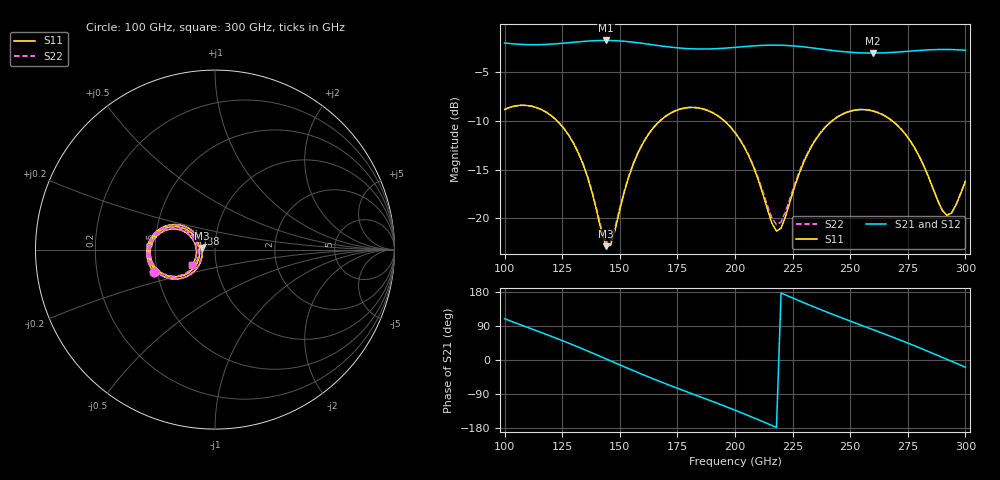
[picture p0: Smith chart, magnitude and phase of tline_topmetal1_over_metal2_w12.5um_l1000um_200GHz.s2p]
#  GHZ S DB R 50
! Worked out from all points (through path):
!   101 points, 100 GHz to 300 GHz, reference 50 ohm
!   highest |S21| = -1.71 dB at 144 GHz (marker M1); lowest = -3.0 dB at 260 GHz (marker M2)
!   group delay of S21, straight-line fit = 6.78 ps
!   lowest |S11| = -22.9 dB at 144 GHz (marker M3), VSWR 1.15, Z = 43.3 + j0.767 ohm
!   |S11| at or under -10 dB: 122.8 GHz to 167.4 GHz (44.63 GHz wide, 30.8 % of centre); 195.4 GHz to 242.1 GHz (46.75 GHz wide, 21.4 % of centre); 268.3 GHz to end of sweep
!   |S22| runs from -22.5 to -8.4 dB; largest |S21 - S12| = 9e-14
!   S11 on the Smith chart (normalised r, x): 100 GHz: 0.48, -0.14; 138 GHz: 0.80, +0.14; 300 GHz: 0.76, -0.14
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100  -8.82 -159.8  -1.97 108.9  -1.97 108.9  -8.81 -159.7
118  -9.09 165.6  -2.12 67.7  -2.12 67.7  -9.08 166.0
126  -10.86 151.3  -1.98 48.8  -1.98 48.8  -10.83 151.9
134  -14.42 140.8  -1.82 29.0  -1.82 29.0  -14.37 141.8
138  -17.39 141.1  -1.75 18.7  -1.75 18.7  -17.28 142.4
144  -22.88 173.0  -1.71 3.0  -1.71 3.0  -22.48 173.7
146  -22.80 -164.5  -1.72 -2.3  -1.72 -2.3  -22.40 -165.0
158  -13.23 -136.3  -1.95 -33.5  -1.95 -33.5  -13.19 -136.8
168  -9.87 -151.9  -2.28 -58.1  -2.28 -58.1  -9.85 -152.0
184  -8.66 179.2  -2.59 -95.1  -2.59 -95.1  -8.64 179.5
200  -11.20 152.4  -2.43 -132.4  -2.43 -132.4  -11.15 153.3
210  -15.99 145.1  -2.24 -157.3  -2.24 -157.3  -15.81 146.9
218  -21.33 179.0  -2.20 -178.0  -2.20 -178.0  -20.67 179.5
220  -21.02 -164.2  -2.20 176.8  -2.20 176.8  -20.39 -165.4
226  -16.68 -139.7  -2.29 161.2  -2.29 161.2  -16.43 -141.9
234  -12.30 -142.3  -2.49 140.8  -2.49 140.8  -12.22 -143.8
246  -9.38 -160.4  -2.84 112.0  -2.84 112.0  -9.35 -161.4
260  -8.98 176.0  -3.01 79.9  -3.01 79.9  -8.97 175.3
268  -9.94 163.2  -2.94 61.4  -2.94 61.4  -9.93 162.7
282  -14.64 149.6  -2.71 27.3  -2.71 27.3  -14.65 149.2
292  -19.70 -179.3  -2.64 1.7  -2.64 1.7  -19.71 -179.4
300  -16.21 -145.7  -2.73 -19.0  -2.73 -19.0  -16.19 -145.8
